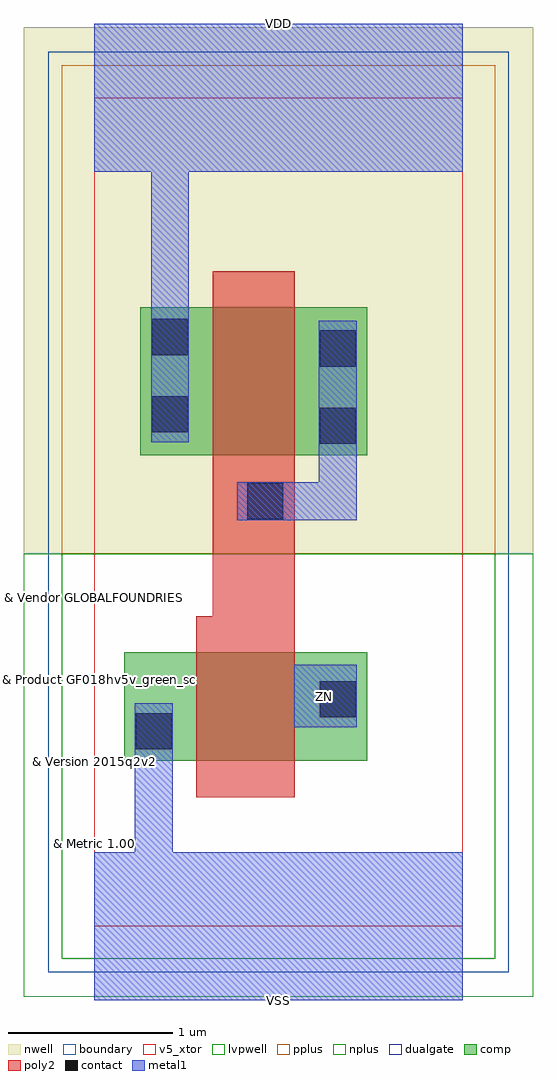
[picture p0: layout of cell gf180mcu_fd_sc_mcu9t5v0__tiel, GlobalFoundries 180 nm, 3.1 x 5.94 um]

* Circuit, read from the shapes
.subckt gf180mcu_fd_sc_mcu9t5v0__tiel VDD VSS ZN
XM1 ZN n1 VSS VSUBS nfet_05v0 w=0.66u l=0.6u
XM2 n1 n1 VDD n2 pfet_05v0 w=0.9u l=0.5u
.ends

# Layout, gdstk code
import gdstk
lib = gdstk.Library(unit=1e-6, precision=1e-09)
def R(c, l, rs):  # rectangles x0, y0, x1, y1
    for r in rs: c.add(gdstk.rectangle(r[:2], r[2:], *l))
def P(c, l, *ps):  # polygons
    for p in ps: c.add(gdstk.Polygon(p, *l))
boundary = (0, 0)
nwell = (21, 0)
comp = (22, 0)
poly2 = (30, 0)
pplus = (31, 0)
nplus = (32, 0)
contact = (33, 0)
metal1 = (34, 0)
dualgate = (55, 0)
v5_xtor = (112, 1)
lvpwell = (204, 0)

gf180mcu_fd_sc_mcu9t5v0_ = lib.new_cell('gf180mcu_fd_sc_mcu9t5v0__tiel')
R(gf180mcu_fd_sc_mcu9t5v0_, boundary, [(0,0,2.24,5.04)])
R(gf180mcu_fd_sc_mcu9t5v0_, nwell, [(-0.43,2.265,2.67,5.47)])
R(gf180mcu_fd_sc_mcu9t5v0_, comp, [(0.18,1.005,1.66,1.665), (0.28,2.865,1.66,3.765)])
P(gf180mcu_fd_sc_mcu9t5v0_, poly2, [(0.62,0.785),(0.62,1.885),(0.72,1.885),(0.72,3.985),(1.22,3.985),(1.22,0.785)])
R(gf180mcu_fd_sc_mcu9t5v0_, pplus, [(-0.2,2.265,2.44,5.24)])
R(gf180mcu_fd_sc_mcu9t5v0_, nplus, [(-0.2,-0.2,2.44,2.265)])
R(gf180mcu_fd_sc_mcu9t5v0_, contact, [(0.25,1.075,0.47,1.295), (1.37,1.27,1.59,1.49), (0.93,2.475,1.15,2.695), (1.37,2.935,1.59,3.155), (0.35,3.005,0.57,3.225), (1.37,3.405,1.59,3.625), (0.35,3.475,0.57,3.695)])
R(gf180mcu_fd_sc_mcu9t5v0_, metal1, [(1.215,1.21,1.595,1.59)])
P(gf180mcu_fd_sc_mcu9t5v0_, metal1, [(0.87,2.47),(0.87,2.7),(1.365,2.7),(1.365,3.685),(1.595,3.685),(1.595,2.47)],
  [(0,-0.45),(0,0.45),(0.245,0.45),(0.245,1.355),(0.475,1.355),(0.475,0.45),(2.24,0.45),(2.24,-0.45)],
  [(0.345,2.945),(0.345,4.59),(0,4.59),(0,5.49),(2.24,5.49),(2.24,4.59),(0.575,4.59),(0.575,2.945)])
R(gf180mcu_fd_sc_mcu9t5v0_, dualgate, [(-0.28,-0.28,2.52,5.32)])
R(gf180mcu_fd_sc_mcu9t5v0_, v5_xtor, [(0,0,2.24,5.04)])
R(gf180mcu_fd_sc_mcu9t5v0_, lvpwell, [(-0.43,-0.43,2.67,2.265)])
gf180mcu_fd_sc_mcu9t5v0_.add(gdstk.Label('VDD', (1.12,5.49), layer=34, texttype=10))
gf180mcu_fd_sc_mcu9t5v0_.add(gdstk.Label('VSS', (1.12,-0.45), layer=34, texttype=10))
gf180mcu_fd_sc_mcu9t5v0_.add(gdstk.Label('ZN', (1.4,1.4), layer=34, texttype=10))
gf180mcu_fd_sc_mcu9t5v0_.add(gdstk.Label('& Vendor GLOBALFOUNDRIES', (0,2), layer=63, texttype=63))
gf180mcu_fd_sc_mcu9t5v0_.add(gdstk.Label('& Product GF018hv5v_green_sc9', (0,1.5), layer=63, texttype=63))
gf180mcu_fd_sc_mcu9t5v0_.add(gdstk.Label('& Version 2015q2v2', (0,1), layer=63, texttype=63))
gf180mcu_fd_sc_mcu9t5v0_.add(gdstk.Label('& Metric 1.00', (0,0.5), layer=63, texttype=63))

lib.write_gds('gf180mcu_fd_sc_mcu9t5v0__tiel.gds')
